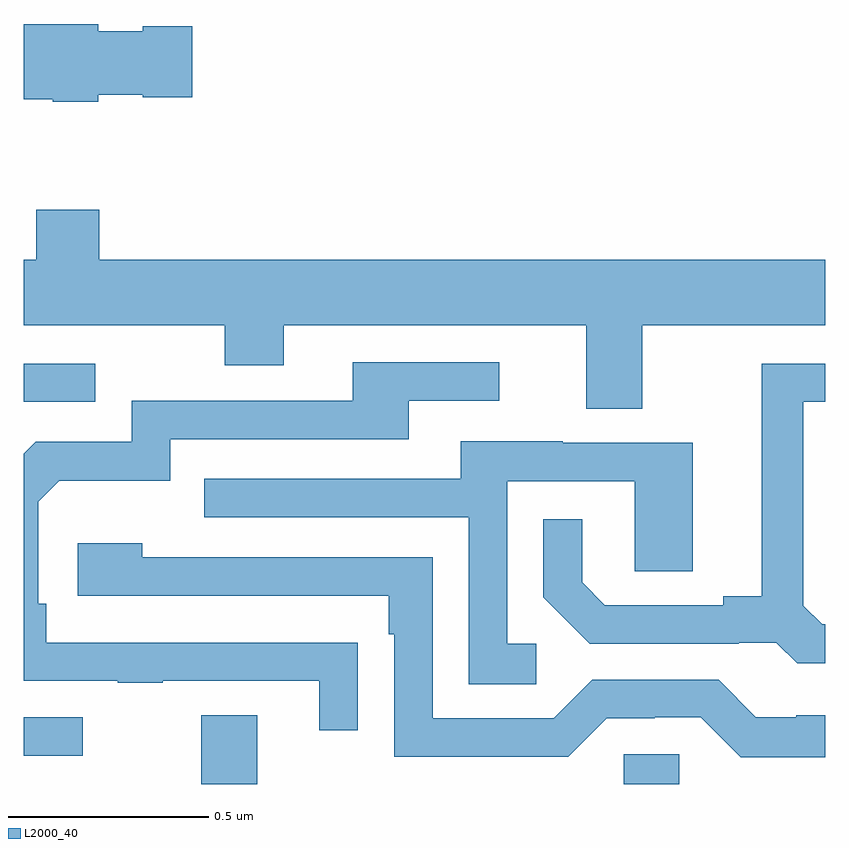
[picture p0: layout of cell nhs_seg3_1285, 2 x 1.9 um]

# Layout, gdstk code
import gdstk
lib = gdstk.Library(unit=1e-6, precision=1e-09)
def R(c, l, rs):  # rectangles x0, y0, x1, y1
    for r in rs: c.add(gdstk.rectangle(r[:2], r[2:], *l))
def P(c, l, *ps):  # polygons
    for p in ps: c.add(gdstk.Polygon(p, *l))
L2000_40 = (2000, 40)

nhs_seg3_1285 = lib.new_cell('nhs_seg3_1285')
R(nhs_seg3_1285, L2000_40, [(126.443,738.4,126.583,738.571), (127.497,738.4,127.635,738.474), (126,738.471,126.148,738.567), (126,739.353,126.178,739.449)])
P(nhs_seg3_1285, L2000_40, [(126.186,740.12),(126.297,740.12),(126.297,740.113),(126.421,740.113),(126.421,740.291),(126.297,740.291),(126.297,740.278),(126.186,740.278),(126.186,740.296),(126,740.296),(126,740.108),(126.072,740.108),(126.072,740.102),(126.186,740.102)],
  [(127.543,739.544),(128,739.544),(128,739.708),(126.188,739.708),(126.188,739.832),(126.031,739.832),(126.031,739.708),(126,739.708),(126,739.544),(126.502,739.544),(126.502,739.445),(126.649,739.445),(126.649,739.544),(127.403,739.544),(127.403,739.336),(127.543,739.336)],
  [(126.833,738.752),(126.731,738.752),(126.731,738.753),(126.056,738.753),(126.056,738.85),(126.036,738.85),(126.036,739.104),(126.089,739.157),(126.366,739.157),(126.366,739.26),(126.961,739.26),(126.961,739.356),(127.186,739.356),(127.186,739.452),(126.821,739.452),(126.821,739.356),(126.27,739.356),(126.27,739.254),(126.03,739.254),(126,739.224),(126,738.657),(126.235,738.657),(126.235,738.652),(126.347,738.652),(126.347,738.657),(126.737,738.657),(126.737,738.534),(126.833,738.534)],
  [(128,738.798),(127.992,738.798),(127.945,738.845),(127.945,739.353),(128,739.353),(128,739.449),(127.841,739.449),(127.841,738.869),(127.745,738.869),(127.745,738.846),(127.45,738.846),(127.393,738.903),(127.393,739.06),(127.296,739.06),(127.296,738.866),(127.412,738.75),(127.784,738.75),(127.784,738.753),(127.878,738.753),(127.93,738.701),(128,738.701)],
  [(127.279,738.75),(127.206,738.75),(127.206,739.155),(127.524,739.155),(127.524,738.931),(127.669,738.931),(127.669,739.251),(127.345,739.251),(127.345,739.255),(127.091,739.255),(127.091,739.161),(126.451,739.161),(126.451,739.065),(127.11,739.065),(127.11,738.649),(127.279,738.649)],
  [(128,738.571),(127.927,738.571),(127.927,738.567),(127.827,738.567),(127.734,738.66),(127.419,738.66),(127.323,738.564),(127.02,738.564),(127.02,738.966),(126.296,738.966),(126.296,739),(126.135,739),(126.135,738.87),(126.911,738.87),(126.911,738.773),(126.924,738.773),(126.924,738.468),(127.359,738.468),(127.455,738.564),(127.574,738.564),(127.574,738.567),(127.689,738.567),(127.789,738.467),(128,738.467)])

lib.write_gds('nhs_seg3_1285.gds')
